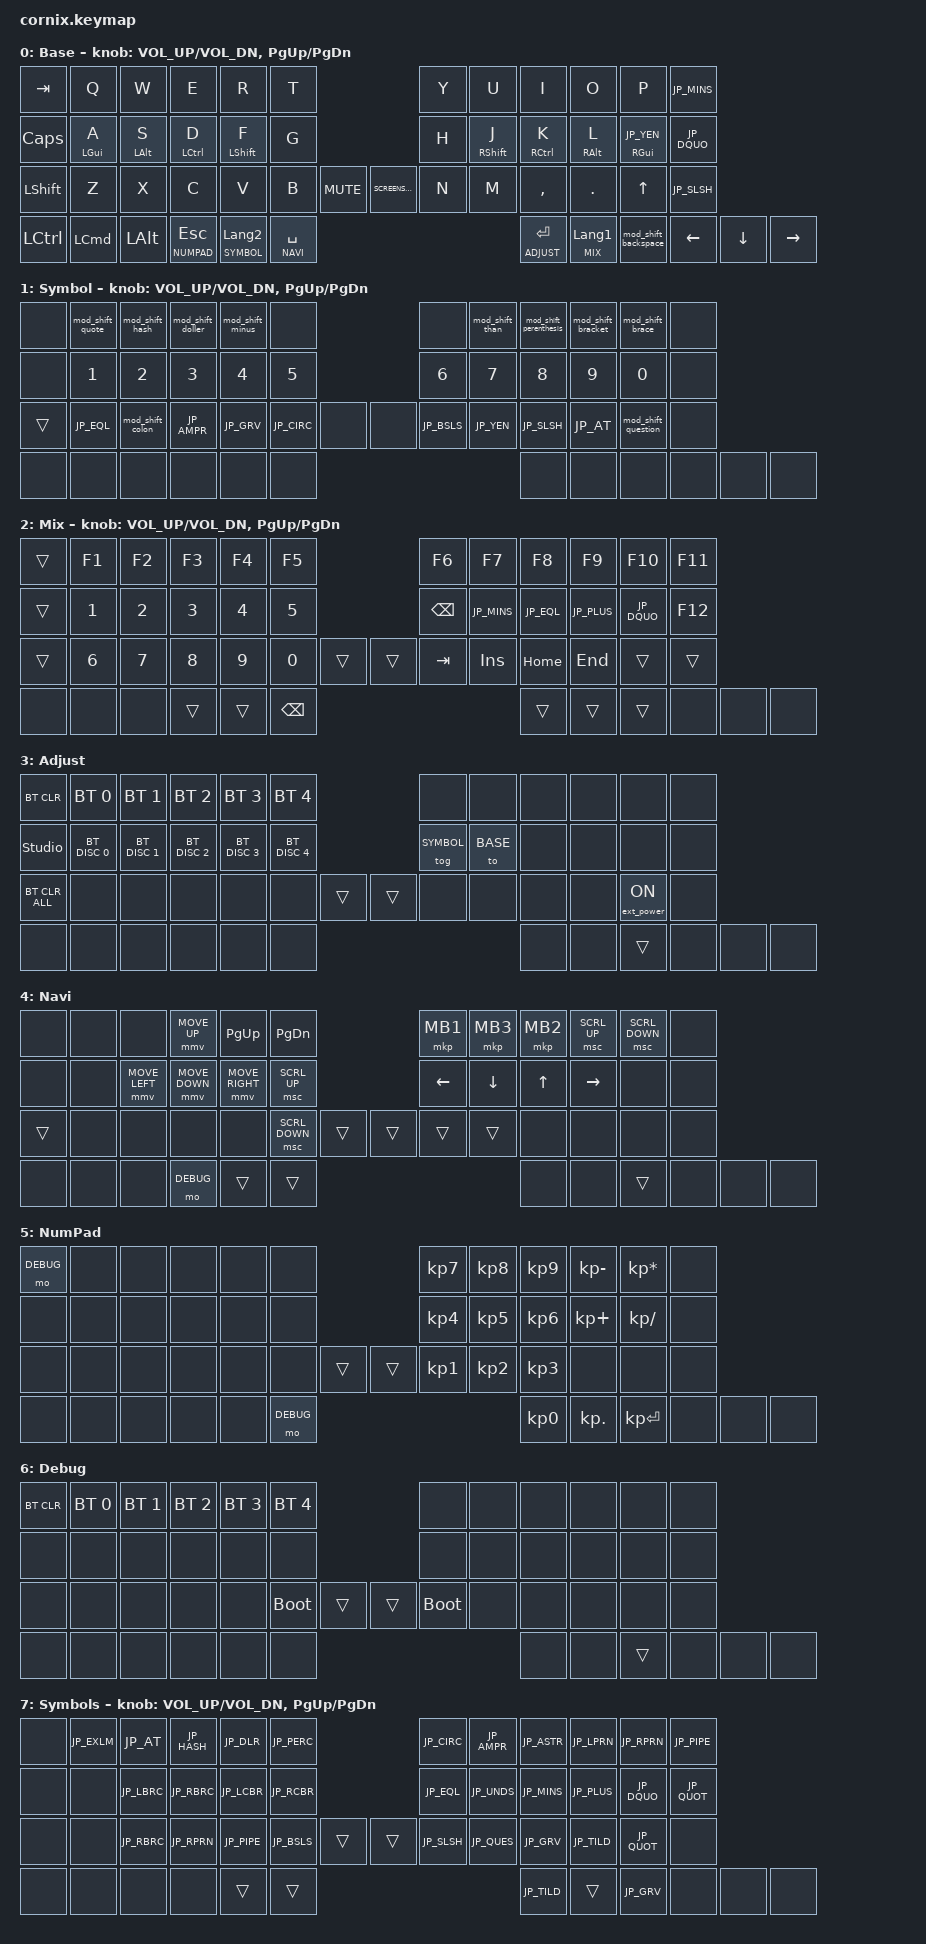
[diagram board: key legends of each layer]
/*
 * Copyright (c) 2020 The ZMK Contributors
 *
 * SPDX-License-Identifier: MIT
 */

#include "zmk-helpers/helper.h"
#include "includes/cornix54.h"
#include "includes/jis.h"

// tap windows for ctl alt and gui

#define HM_TAPPING_TERM 350
#define HM_TAPPING_REPEAT 210

// quick tapping for shift

#define HM_TAPPING_TERM_FAST 250
#define HM_PRIOR_IDLE 125
#define BASE    0
#define SYMBOL  1
#define MIX     2
#define ADJUST  3
#define NAVI    4
#define NUMPAD  5
#define DEBUG   6
#define SYMBOLS 7

// https://github.com/urob/zmk-config/tree/main#timeless-homerow-mods

#define KEYS_L LT0 LT1 LT2 LT3 LT4 LT5 LM0 LM1 LM2 LM3 LM4 LM5 LB0 LB1 LB2 LB3 LB4 LB5  // left hand
#define KEYS_R RT0 RT1 RT2 RT3 RT4 RT5 RM0 RM1 RM2 RM3 RM4 RM5 RB0 RB1 RB2 RB3 RB4 RB5  // right hand
#define THUMBS LH1 LH0 RH0 RH1
#define KEYS_T LH1 LH0 RH0 RH1
#define ZMK_POINTING_DEFAULT_SCRL_VAL 15

#include <behaviors.dtsi>
#include <dt-bindings/zmk/bt.h>
#include <dt-bindings/zmk/ext_power.h>
#include <dt-bindings/zmk/keys.h>
#include <dt-bindings/zmk/pointing.h>

/ {
    // Activate ADJUST layer by pressing raise and lower

    behaviors {
        hm_l: homerow_mods_left {
            compatible = "zmk,behavior-hold-tap";
            #binding-cells = <2>;
            bindings = <&kp>, <&kp>;

            flavor = "balanced";
            tapping-term-ms = <HM_TAPPING_TERM>;
            quick-tap-ms = <200>;                // repeat on tap-into-hold
            require-prior-idle-ms = <HM_PRIOR_IDLE>;
            hold-trigger-key-positions = <KEYS_R KEYS_T>;
            hold-trigger-on-release;
        };

        hm_r: homerow_mods_right {
            compatible = "zmk,behavior-hold-tap";
            #binding-cells = <2>;
            bindings = <&kp>, <&kp>;

            flavor = "balanced";
            tapping-term-ms = <HM_TAPPING_TERM>;
            quick-tap-ms = <200>;
            require-prior-idle-ms = <HM_PRIOR_IDLE>;
            hold-trigger-key-positions = <KEYS_L KEYS_T>;
            hold-trigger-on-release;
        };

        // Positional Homerow mods for shift
        // Use faster tapping term and disable some features that may
        // cause false negatives.

        hm_shift_l: hm_shift_l {
            compatible = "zmk,behavior-hold-tap";
            #binding-cells = <2>;
            bindings = <&kp>, <&kp>;

            //flavor = "balanced";

            flavor = "balanced";
            tapping-term-ms = <HM_TAPPING_TERM_FAST>;
            quick-tap-ms = <200>;
            require-prior-idle-ms = <HM_PRIOR_IDLE>;
            hold-trigger-key-positions = <KEYS_R KEYS_T>;
            hold-trigger-on-release;
        };

        hm_shift_r: hm_shift_r {
            compatible = "zmk,behavior-hold-tap";
            #binding-cells = <2>;
            bindings = <&kp>, <&kp>;

            flavor = "balanced";
            tapping-term-ms = <HM_TAPPING_TERM_FAST>;
            quick-tap-ms = <200>;
            require-prior-idle-ms = <HM_PRIOR_IDLE>;
            hold-trigger-key-positions = <KEYS_L KEYS_T>;

            // for quick tapping; shift+~

            hold-trigger-on-release;
        };

        /*
         * Non-Positional Homerow Mods
         * Used for &mm_grescm_gui behavior on left hand.
         *
         * Usage: &hm LSHFT T
         * Tap: T
         * Tap-Tap-Hold: Repeat T
         * Hold: LSHIFT
         */

        hm: homerow_mods {
            compatible = "zmk,behavior-hold-tap";
            #binding-cells = <2>;
            bindings = <&kp>, <&kp>;

            flavor = "balanced";
            tapping-term-ms = <HM_TAPPING_TERM>;
            quick-tap-ms = <200>;
        };

        lt: layer_tap {
            compatible = "zmk,behavior-hold-tap";
            #binding-cells = <2>;
            bindings = <&mo>, <&kp>;

            flavor = "hold-preferred";
            tapping-term-ms = <HM_TAPPING_TERM>;
            quick-tap-ms = <200>;
        };

        // IME-toggle thumbs (英数=LANGUAGE_2 / かな=LANGUAGE_1).
        // "balanced" + short term so the tap only fires on a deliberate, isolated
        // press; any key interleaved during typing resolves to the layer (hold),
        // preventing accidental input-source switches mid-typing.
        lt_ime: layer_tap_ime {
            compatible = "zmk,behavior-hold-tap";
            #binding-cells = <2>;
            bindings = <&mo>, <&kp>;

            flavor = "balanced";
            tapping-term-ms = <200>;
            quick-tap-ms = <0>;
        };

        mod_shift_backspace: mod_shift_backspace {
            compatible = "zmk,behavior-mod-morph";
            bindings = <&kp BACKSPACE>, <&kp DELETE>;

            #binding-cells = <0>;
            mods = <(MOD_RSFT|MOD_LSFT)>;
        };

        mod_shift_quote: mod_shift_quote {
            compatible = "zmk,behavior-mod-morph";
            bindings = <&kp JP_QUOT>, <&kp JP_DQUO>;

            #binding-cells = <0>;
            mods = <(MOD_LSFT|MOD_RSFT)>;
        };

        mod_shift_hash: mod_shift_hash {
            compatible = "zmk,behavior-mod-morph";
            bindings = <&kp JP_HASH>, <&kp JP_ASTR>;

            #binding-cells = <0>;
            mods = <(MOD_LSFT|MOD_RSFT)>;
        };

        mod_shift_doller: mod_shift_doller {
            compatible = "zmk,behavior-mod-morph";
            bindings = <&kp JP_DLR>, <&kp JP_PERC>;

            #binding-cells = <0>;
            mods = <(MOD_LSFT|MOD_RSFT)>;
        };

        mod_shift_than: mod_shift_than {
            compatible = "zmk,behavior-mod-morph";
            bindings = <&kp JP_LABK>, <&kp JP_RABK>;

            #binding-cells = <0>;
            mods = <(MOD_LSFT|MOD_RSFT)>;
        };

        mod_shift_perenthesis: mod_shift_perenthesis {
            compatible = "zmk,behavior-mod-morph";
            bindings = <&kp JP_LPRN>, <&kp JP_RPRN>;

            #binding-cells = <0>;
            mods = <(MOD_LSFT|MOD_RSFT)>;
        };

        mod_shift_bracket: mod_shift_bracket {
            compatible = "zmk,behavior-mod-morph";
            bindings = <&kp JP_LBRC>, <&kp JP_RBRC>;

            #binding-cells = <0>;
            mods = <(MOD_LSFT|MOD_RSFT)>;
        };

        mod_shift_brace: mod_shift_brace {
            compatible = "zmk,behavior-mod-morph";
            bindings = <&kp JP_LCBR>, <&kp JP_RCBR>;

            #binding-cells = <0>;
            mods = <(MOD_LSFT|MOD_RSFT)>;
        };

        mod_shift_colon: mod_shift_colon {
            compatible = "zmk,behavior-mod-morph";
            bindings = <&kp JP_COLN>, <&kp JP_SCLN>;

            #binding-cells = <0>;
            mods = <(MOD_LSFT|MOD_RSFT)>;
        };

        mod_shift_minus: mod_shift_minus {
            compatible = "zmk,behavior-mod-morph";
            bindings = <&kp JP_MINS>, <&kp JP_PLUS>;

            #binding-cells = <0>;
            mods = <(MOD_LSFT|MOD_RSFT)>;
        };

        mod_shift_pipe: mod_shift_pipe {
            compatible = "zmk,behavior-mod-morph";
            bindings = <&kp JP_PIPE>, <&kp JP_UNDS>;

            #binding-cells = <0>;
            mods = <(MOD_LSFT|MOD_RSFT)>;
        };

        mod_shift_question: mod_shift_question {
            compatible = "zmk,behavior-mod-morph";
            bindings = <&kp JP_QUES>, <&kp JP_EXLM>;

            #binding-cells = <0>;
            mods = <(MOD_LSFT|MOD_RSFT)>;
        };
    };

    conditional_layers {
        compatible = "zmk,conditional-layers";

        adjust_layer {
            if-layers = <MIX DEBUG>;
            then-layer = <ADJUST>;
        };
    };

    keymap {
        compatible = "zmk,keymap";

        default_layer {
            display-name = "Base";

            // Base — homerow mods on hold: (L) A=GUI S=ALT D=CTRL F=SHIFT  (R) J=SHIFT K=CTRL L=ALT ¥=GUI
            // Thumb hold = layer: ESC->L5(NumPad)  英数->L1(Symbol)  SPC->L4(Navi)  ENT->L3(Adjust)  かな->L2(Mix)
            // ------------------------------------------------------------------------------------------------------------
            // |  TAB  |  Q  |  W  |  E  |  R  |  T  |                |  Y   |  U  |  I  |  O  |  P  |  -  |
            // | CAPS  |  A  |  S  |  D  |  F  |  G  |                |  H   |  J  |  K  |  L  |  ¥  |  "  |
            // | SHIFT |  Z  |  X  |  C  |  V  |  B  | MUTE | |SAVER |  N   |  M  |  ,  |  .  |  ↑  |  /  |
            // | CTRL  | GUI | ALT | ESC |英数 | SPC |      | | ENT  |かな  | BSP |  ←  |  ↓  |  →  |

            bindings = <
&kp TAB           &kp Q             &kp W         &kp E         &kp R             &kp T                                       &kp Y        &kp U             &kp I                 &kp O           &kp P           &kp JP_MINS
&kp CAPSLOCK      &hm_l LGUI A      &hm_l LALT S  &hm_l LCTRL D  &hm_shift_l LSHFT F  &kp G                                  &kp H        &hm_shift_r RSHFT J  &hm_r RCTRL K        &hm_r RALT L    &hm_r RGUI JP_YEN  &kp JP_DQUO
&kp LEFT_SHIFT    &kp Z             &kp X         &kp C         &kp V             &kp B        &kp C_MUTE  &kp K_SCREENSAVER  &kp N        &kp M             &kp COMMA             &kp DOT         &kp UP_ARROW    &kp JP_SLSH
&kp LEFT_CONTROL  &kp LEFT_COMMAND  &kp LEFT_ALT  &lt NUMPAD ESCAPE  &lt_ime SYMBOL LANGUAGE_2  &lt NAVI SPACE                                 &lt ADJUST ENTER  &lt_ime MIX LANGUAGE_1  &mod_shift_backspace  &kp LEFT_ARROW  &kp DOWN_ARROW  &kp RIGHT_ARROW
            >;

            sensor-bindings = <&inc_dec_kp C_VOL_UP C_VOL_DN &inc_dec_kp PG_UP PG_DN>;
        };

        symbol_layer {
            display-name = "Symbol";

            // Symbol — symbols (mod-morph = tap/shift) + number row.  Reached by holding 英数(L1).
            // ------------------------------------------------------------------------------------------------------------
            // |     |  '" |  #* |  $% |  -+ |     |                |     |  <> |  () |  [] |  {} |     |
            // |     |  1  |  2  |  3  |  4  |  5  |                |  6  |  7  |  8  |  9  |  0  |     |
            // | SFT |  =  |  :; |  &  |  `  |  ^  |      | |       |  \  |  ¥  |  /  |  @  |  ?! |     |
            // |     |     |     |     |     |     |      | |       |     |     |     |     |     |     |

            bindings = <
&none   &mod_shift_quote  &mod_shift_hash   &mod_shift_doller  &mod_shift_minus  &none                       &none         &mod_shift_than  &mod_shift_perenthesis  &mod_shift_bracket  &mod_shift_brace     &none
&none   &kp NUMBER_1      &kp NUMBER_2      &kp NUMBER_3       &kp NUMBER_4      &kp NUMBER_5                &kp NUMBER_6  &kp NUMBER_7     &kp NUMBER_8            &kp NUMBER_9        &kp NUMBER_0         &none
&trans  &kp JP_EQL        &mod_shift_colon  &kp JP_AMPR        &kp JP_GRV        &kp JP_CIRC   &none  &none  &kp JP_BSLS   &kp JP_YEN       &kp JP_SLSH             &kp JP_AT           &mod_shift_question  &none
&none   &none             &none             &none              &none             &none                       &none         &none            &none                   &none               &none                &none
            >;

            sensor-bindings = <&inc_dec_kp C_VOL_UP C_VOL_DN &inc_dec_kp PG_UP PG_DN>;
        };

        Mix_layer {
            display-name = "Mix";

            // Role: Function keys + ascending number block (left) / edit & navigation (right)
            // ------------------------------------------------------------------------------------------------------------
            // |       |  F1 |  F2 |  F3  |  F4  |  F5  |                | F6   | F7   | F8    | F9   | F10   | F11  |
            // |       |  1  |  2  |  3   |  4   |  5   |                | BKSP |  -   |  =    |  +   |   "   | F12  |
            // |       |  6  |  7  |  8   |  9   |  0   |                | TAB  | INS  | HOME  | END  |       |      |
            // |       |     |     |      |      | BKSP |       |  |     |      |      |       |      |       |      |

            bindings = <
&trans  &kp F1  &kp F2  &kp F3   &kp F4  &kp F5                         &kp F6    &kp F7     &kp F8     &kp F9    &kp F10  &kp F11
&trans  &kp N1  &kp N2  &kp N3   &kp N4  &kp N5                         &kp BSPC  &kp JP_MINS  &kp JP_EQL  &kp JP_PLUS  &kp JP_DQUO  &kp F12
&trans  &kp N6  &kp N7  &kp N8   &kp N9  &kp N0         &trans  &trans  &kp TAB   &kp INS    &kp HOME   &kp END   &trans   &trans
&none   &none   &none   &trans   &trans  &kp BACKSPACE                  &trans    &trans     &trans     &none     &none    &none
            >;

            sensor-bindings = <&inc_dec_kp C_VOL_UP C_VOL_DN &inc_dec_kp PG_UP PG_DN>;
        };

        Adjust_layer {
            display-name = "Adjust";

            // Adjust — Bluetooth & system.  Reached by holding ENT(L3), or Mix(L2)+Debug(L6).
            // ----------------------------------------------------------------------------------------------------------------------------
            // | BTCLR  |  BT0   |  BT1   |  BT2   |  BT3   |  BT4   |                  |       |      |       |      |       |      |
            // | STUDIO | BTDIS0 | BTDIS1 | BTDIS2 | BTDIS3 | BTDIS4 |                  | TOG1  | TO0  |       |      |       |      |
            // |BTCLRALL|        |        |        |        |        |        |  |      |       |      |       |      | EXTPWR|      |
            // |        |        |        |        |        |        |        |  |      |       |      |       |      |       |      |

            bindings = <
&bt BT_CLR      &bt BT_SEL 0   &bt BT_SEL 1   &bt BT_SEL 2   &bt BT_SEL 3   &bt BT_SEL 4                   &none   &none  &none   &none  &none             &none
&studio_unlock  &bt BT_DISC 0  &bt BT_DISC 1  &bt BT_DISC 2  &bt BT_DISC 3  &bt BT_DISC 4                  &tog SYMBOL  &to BASE  &none   &none  &none             &none
&bt BT_CLR_ALL  &none          &none          &none          &none          &none          &trans  &trans  &none   &none  &none   &none  &ext_power EP_ON  &none
&none           &none          &none          &none          &none          &none                          &none   &none  &trans  &none  &none             &none
            >;
        };

        Navi_layer {
            display-name = "Navi";
            bindings = <
&none   &none  &none           &mmv MOVE_UP    &kp PAGE_UP      &kp PAGE_DOWN                   &mkp MB1  &mkp MB3  &mkp MB2  &msc SCRL_UP  &msc SCRL_DOWN  &none
&none   &none  &mmv MOVE_LEFT  &mmv MOVE_DOWN  &mmv MOVE_RIGHT  &msc SCRL_UP                    &kp LEFT  &kp DOWN  &kp UP    &kp RIGHT     &none           &none
&trans  &none  &none           &none           &none            &msc SCRL_DOWN  &trans  &trans  &trans    &trans    &none     &none         &none           &none
&none   &none  &none           &mo DEBUG        &trans           &trans                          &none     &none     &trans    &none         &none           &none
            >;
        };

        KeyPad_layer {
            display-name = "NumPad";
            bindings = <
&mo DEBUG  &none  &none  &none  &none  &none                  &kp KP_N7        &kp KP_N8        &kp KP_N9        &kp KP_MINUS  &kp KP_MULTIPLY  &none
&none  &none  &none  &none  &none  &none                  &kp KP_N4  &kp KP_N5  &kp KP_N6        &kp KP_PLUS   &kp KP_DIVIDE    &none
&none  &none  &none  &none  &none  &none  &trans  &trans  &kp KP_N1  &kp KP_N2  &kp KP_N3        &none         &none            &none
&none  &none  &none  &none  &none  &mo DEBUG                  &kp KP_N0        &kp KP_DOT       &kp KP_ENTER  &none         &none            &none
            >;
        };

        Debug_layer {
            display-name = "Debug";

            // Debug — BT select & bootloader.  Reached by holding &mo DEBUG (NumPad / Navi).
            // ----------------------------------------------------------------------------------------------------------------------------
            // | BTCLR  |  BT0   |  BT1   |  BT2   |  BT3   |  BT4   |                  |      |      |       |      |       |      |
            // |        |        |        |        |        |        |                  |      |      |       |      |       |      |
            // |        |        |        |        |        | BOOTL  |       |  | BOOTL |      |      |       |      |       |      |
            // |        |        |        |        |        |        |       |  |       |      |      |       |      |       |      |

            bindings = <
&bt BT_CLR  &bt BT_SEL 0  &bt BT_SEL 1  &bt BT_SEL 2  &bt BT_SEL 3  &bt BT_SEL 4                  &none        &none  &none   &none  &none  &none
&none       &none         &none         &none         &none         &none                         &none        &none  &none   &none  &none  &none
&none       &none         &none         &none         &none         &bootloader   &trans  &trans  &bootloader  &none  &none   &none  &none  &none
&none       &none         &none         &none         &none         &none                         &none        &none  &trans  &none  &none  &none
            >;
        };

        symbols_layer {
            display-name = "Symbols";

            // TODO: Some binds are waiting for shifted keycode support.
            // -------------------------------
            // |       |  F1 |  F2 |  F3  |  F4  |  F5  |                   |  F6  |  F7   |  F8   |  F9  |  F10  |  F11  |
            // |   `   |  1  |  2  |  3   |  4   |  5   |                   |  6   |  7    |  8    |  9   |   0   |  F12  |
            // |       |  !  |  @  |  #   |  $   |  %   |                   |  ^   |  &    |  *    |  (   |   )   |   |   |
            // |       |  =  |  -  |  +   |  {   |  }   |        |  |       |  [   |  ]    |  ;    |  :   |   \   |       |
            //               |     |      |      |      |        |  |       |      |       |       |      |

            bindings = <
&none  &kp JP_EXLM  &kp JP_AT    &kp JP_HASH  &kp JP_DLR  &kp JP_PERC                    &kp JP_CIRC  &kp JP_AMPR   &kp JP_ASTR  &kp JP_LPRN  &kp JP_RPRN  &kp JP_PIPE
&none  &none        &kp JP_LBRC  &kp JP_RBRC  &kp JP_LCBR  &kp JP_RCBR                   &kp JP_EQL   &kp JP_UNDS   &kp JP_MINS  &kp JP_PLUS  &kp JP_DQUO  &kp JP_QUOT
&none  &none        &kp JP_RBRC  &kp JP_RPRN  &kp JP_PIPE  &kp JP_BSLS  &trans  &trans   &kp JP_SLSH  &kp JP_QUES   &kp JP_GRV   &kp JP_TILD  &kp JP_QUOT  &none
&none  &none        &none        &none        &trans       &trans                        &kp JP_TILD  &trans        &kp JP_GRV   &none        &none        &none
            >;

            sensor-bindings = <&inc_dec_kp C_VOL_UP C_VOL_DN &inc_dec_kp PG_UP PG_DN>;
        };
    };
};
